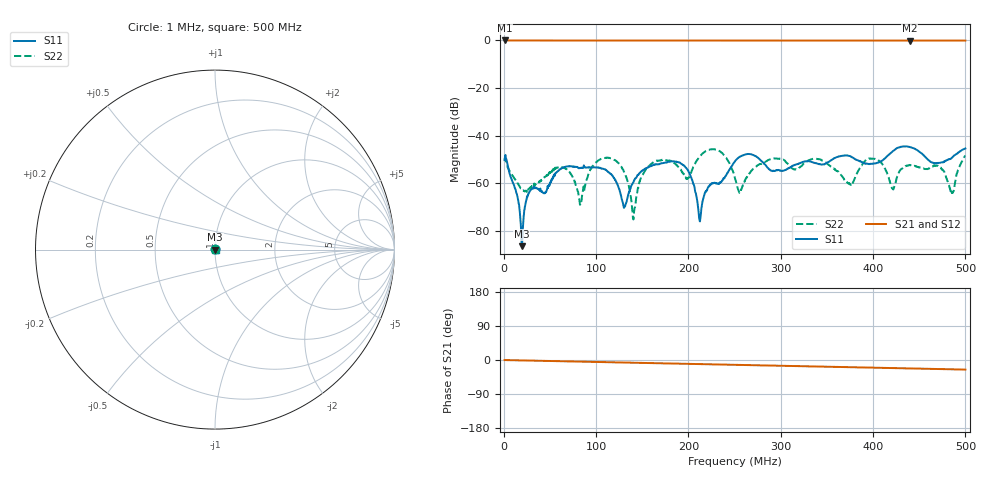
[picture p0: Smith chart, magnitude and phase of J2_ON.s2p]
! MS46122B
! 1746301/73750021
! 8/7/2023 3:07:22 PM
! C:\USERS\SPEGWAL\DOWNLOADS\SAURABH\REACH\NODES\FRONT END\MEASUREMENTS\MEASURED S-PARAMETER_07-08-2023\MS-3\P2_J2\J2_ON.S2P
! CHANNEL.1
! TR.MEASUREMENT
! CORRECTED.DATA
# GHZ S RI R 50.0
! FREQ.GHZ  S11RE  S11IM  S21RE  S21IM  S12RE  S12IM  S22RE  S22IM
!; PortSelection: Port_12
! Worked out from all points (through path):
!   2001 points, 1 MHz to 500 MHz, reference 50 ohm
!   highest |S21| = 0.00 dB at 1 MHz (marker M1); lowest = 0.0 dB at 439.6 MHz (marker M2)
!   group delay of S21, straight-line fit = 140 ps
!   lowest |S11| = -86.4 dB at 19.71 MHz (marker M3), VSWR 1.00, Z = 50 + j0.00462 ohm
!   |S11| at or under -10 dB: start of sweep to end of sweep
!   |S22| runs from -75.2 to -45.7 dB; largest |S21 - S12| = 0.0071
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0.001  -0.00179 0.00248  1 -0.00434  0.9986 -0.00437  -0.000502 0.00328
0.0197125  1.24e-05 4.62e-05  0.9981 -0.0188  0.9969 -0.0214  0.000747 -8.85e-05
0.028944  -0.000581 0.000412  0.9978 -0.0273  0.9967 -0.0295  0.000575 -0.000585
0.0626265  0.00197 -0.0006  0.9958 -0.057  0.9948 -0.0592  0.00121 0.00183
0.084333  0.0021 0.000299  0.9943 -0.0762  0.9932 -0.078  0.000413 -0.000109
0.103794  0.00131 0.00164  0.9925 -0.0932  0.9916 -0.0952  0.00296 -0.001
0.13074  0.000318 2.69e-05  0.99 -0.1164  0.989 -0.1184  0.00118 0.00121
0.14072  0.000579 -0.000925  0.9886 -0.125  0.9876 -0.1275  0.000151 -0.000107
0.150201  0.0011 -0.00149  0.9876 -0.1332  0.9866 -0.1356  0.00048 -0.00141
0.1674165  0.00235 -0.000902  0.9854 -0.1484  0.9844 -0.1505  0.00284 -0.000913
0.197107  0.00207 0.000558  0.981 -0.1737  0.9799 -0.176  0.00133 0.000211
0.212576  9.7e-06 -0.000158  0.9785 -0.187  0.9773 -0.1892  0.00263 -0.00259
0.234033  -0.000236 -0.000996  0.9746 -0.2055  0.9736 -0.2077  0.00448 -0.00147
0.2505  0.00227 -0.00181  0.9715 -0.2194  0.9703 -0.2213  0.00125 -0.000243
0.333833  0.00204 -0.0019  0.9525 -0.2895  0.9513 -0.2918  0.00227 -0.0023
0.3754995  0.00367 -0.000512  0.941 -0.3242  0.9392 -0.3278  0.000924 0.00021
0.4019465  0.0015 -0.00214  0.9331 -0.3461  0.9307 -0.3511  0.00304 -0.00121
0.4169165  0.00326 -0.00226  0.9286 -0.3581  0.9277 -0.3591  0.00117 -0.000612
0.439621  0.00507 -0.00282  0.9209 -0.3765  0.9197 -0.3792  -0.000956 -0.00224
0.4713075  0.00265 0.000354  0.9106 -0.4017  0.9096 -0.4016  0.00184 0.00122
0.485529  0.00311 -0.0015  0.9051 -0.4134  0.9045 -0.4141  0.000606 -0.000237
0.5  0.00296 -0.00449  0.8996 -0.4252  0.8965 -0.4303  0.000676 -0.00368
